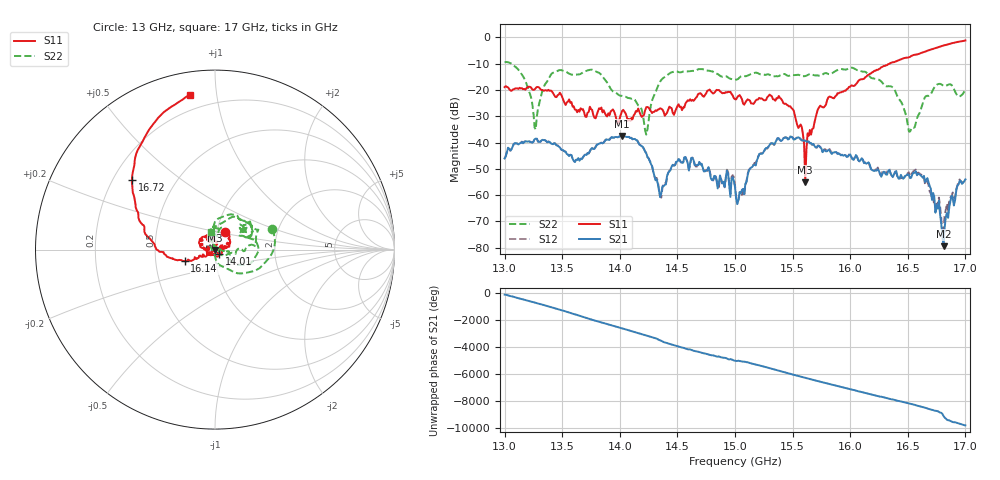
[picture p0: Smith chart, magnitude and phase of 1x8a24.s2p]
!Keysight Technologies,P9374A,MY57211807,A.19.30.04
!Date: Friday, May 08, 2026 14:12:28
!Correction: S11(C  2-Port  )
!S21(C  2-Port  )
!S12(C  2-Port  )
!S22(C  2-Port  )
!S2P File: Measurements: S11, S21, S12, S22:
# Hz S  dB  R 50
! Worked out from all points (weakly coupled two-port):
!   401 points, 13 GHz to 17 GHz, reference 50 ohm
!   highest |S21| = -37.47 dB at 14.02 GHz (marker M1); lowest = -79.4 dB at 16.81 GHz (marker M2)
!   lowest |S11| = -55.1 dB at 15.61 GHz (marker M3), VSWR 1.00, Z = 50.1 - j0.155 ohm
!   |S11| at or under -10 dB: start of sweep to 16.34 GHz
!   |S22| runs from -37.0 to -9.4 dB; largest |S21 - S12| = 0.0006
!   S11 on the Smith chart (normalised r, x): 13 GHz: 1.09, +0.22; 14.01 GHz: 1.04, -0.06; 16.14 GHz: 0.71, -0.09; 16.72 GHz: 0.28, +0.34; 17 GHz: 0.12, +0.84
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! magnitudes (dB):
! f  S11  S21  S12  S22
! 13 GHz  -18.9  -46.0  -46.1  -9.4
! 13.16 GHz  -19.7  -40.3  -40.2  -14.8
! 13.27 GHz  -19.3  -38.5  -38.5  -35.0
! 13.41 GHz  -20.5  -40.5  -40.4  -13.7
! 13.67 GHz  -27.4  -46.2  -46.3  -13.6
! 14.01 GHz  -29.2  -37.6  -37.5  -22.2
! 14.02 GHz  -28.0  -37.5  -37.5  -22.2
! 14.23 GHz  -26.5  -44.1  -44.1  -37.0
! 14.34 GHz  -27.4  -58.1  -57.9  -17.7
! 14.56 GHz  -26.7  -45.6  -45.7  -12.9
! 15 GHz  -23.5  -56.9  -56.3  -16.1
! 15.04 GHz  -22.0  -58.8  -59.9  -15.2
! 15.39 GHz  -23.0  -39.1  -39.1  -14.5
! 15.61 GHz  -55.1  -39.2  -39.4  -14.7
! 15.67 GHz  -34.8  -40.7  -40.9  -14.1
! 15.82 GHz  -22.5  -42.9  -42.5  -14.0
! 16.14 GHz  -14.9  -48.0  -47.9  -13.4
! 16.34 GHz  -10.0  -50.5  -50.0  -18.6
! 16.53 GHz  -7.1  -53.3  -52.3  -34.7
! 16.72 GHz  -4.4  -59.2  -60.8  -19.8
! 16.81 GHz  -3.1  -79.4  -72.9  -18.4
! 17 GHz  -1.2  -54.0  -54.0  -19.9
